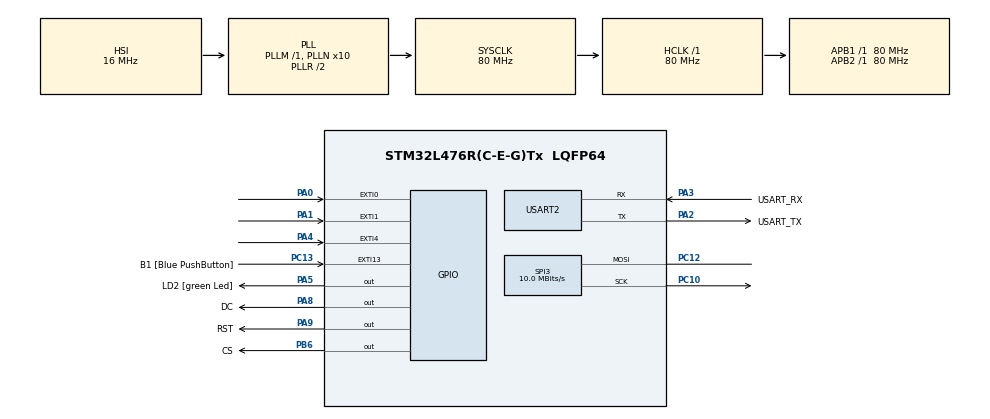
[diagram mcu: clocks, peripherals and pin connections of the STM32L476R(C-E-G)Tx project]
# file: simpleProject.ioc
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Dma.Request0=SPI3_TX
Dma.SPI3_TX.0.Direction=DMA_MEMORY_TO_PERIPH
Dma.SPI3_TX.0.Instance=DMA2_Channel2
Dma.SPI3_TX.0.MemDataAlignment=DMA_MDATAALIGN_BYTE
Dma.SPI3_TX.0.MemInc=DMA_MINC_ENABLE
Dma.SPI3_TX.0.Mode=DMA_NORMAL
Dma.SPI3_TX.0.PeriphDataAlignment=DMA_PDATAALIGN_BYTE
Dma.SPI3_TX.0.PeriphInc=DMA_PINC_DISABLE
Dma.SPI3_TX.0.Priority=DMA_PRIORITY_LOW
FREERTOS.Tasks01=defaultTask,0,128,StartDefaultTask,Default,NULL,Dynamic,NULL,NULL
FREERTOS.configTOTAL_HEAP_SIZE=20000
Mcu.Family=STM32L4
Mcu.Name=STM32L476R(C-E-G)Tx
Mcu.Package=LQFP64
NVIC.DMA2_Channel2_IRQn=true\:5\:0\:false\:false\:true\:true\:false\:true
NVIC.EXTI0_IRQn=true\:5\:0\:false\:false\:true\:true\:true\:true
NVIC.EXTI15_10_IRQn=true\:5\:0\:false\:false\:true\:true\:true\:true
NVIC.EXTI1_IRQn=true\:5\:0\:false\:false\:true\:true\:true\:true
NVIC.EXTI4_IRQn=true\:5\:0\:false\:false\:true\:true\:true\:true
NVIC.PriorityGroup=NVIC_PRIORITYGROUP_4
NVIC.SPI3_IRQn=true\:5\:0\:false\:false\:true\:true\:true\:true
NVIC.USART2_IRQn=true\:5\:0\:false\:false\:true\:true\:true\:true
PA0.Signal=GPXTI0
PA1.Signal=GPXTI1
PA13\ (JTMS-SWDIO).GPIO_Label=TMS
PA13\ (JTMS-SWDIO).Signal=SYS_JTMS-SWDIO
PA14\ (JTCK-SWCLK).GPIO_Label=TCK
PA14\ (JTCK-SWCLK).Signal=SYS_JTCK-SWCLK
PA2.GPIO_Label=USART_TX
PA2.GPIO_Mode=GPIO_MODE_AF_PP
PA2.GPIO_PuPd=GPIO_NOPULL
PA2.GPIO_Speed=GPIO_SPEED_FREQ_VERY_HIGH
PA2.Mode=Asynchronous
PA2.Signal=USART2_TX
PA3.GPIO_Label=USART_RX
PA3.GPIO_Mode=GPIO_MODE_AF_PP
PA3.GPIO_PuPd=GPIO_NOPULL
PA3.GPIO_Speed=GPIO_SPEED_FREQ_VERY_HIGH
PA3.Mode=Asynchronous
PA3.Signal=USART2_RX
PA4.Signal=GPXTI4
PA5.GPIO_Label=LD2 [green Led]
PA5.GPIO_ModeDefaultOutputPP=GPIO_MODE_OUTPUT_PP
PA5.GPIO_PuPd=GPIO_NOPULL
PA5.GPIO_Speed=GPIO_SPEED_FREQ_LOW
PA5.Signal=GPIO_Output
PA8.GPIO_Label=DC
PA8.Signal=GPIO_Output
PA9.GPIO_Label=RST
PA9.Signal=GPIO_Output
PB3\ (JTDO-TRACESWO).GPIO_Label=SWO
PB3\ (JTDO-TRACESWO).Signal=SYS_JTDO-SWO
PB6.GPIO_Label=CS
PB6.Signal=GPIO_Output
PC10.Mode=Simplex_Bidirectional_Master
PC10.Signal=SPI3_SCK
PC12.Mode=Simplex_Bidirectional_Master
PC12.Signal=SPI3_MOSI
PC13.GPIO_Label=B1 [Blue PushButton]
PC13.GPIO_ModeDefaultEXTI=GPIO_MODE_IT_FALLING
PC13.GPIO_PuPd=GPIO_NOPULL
PC13.Signal=GPXTI13
PC14-OSC32_IN\ (PC14).Signal=RCC_OSC32_IN
PC15-OSC32_OUT\ (PC15).Signal=RCC_OSC32_OUT
PH0-OSC_IN\ (PH0).Signal=RCC_OSC_IN
PH1-OSC_OUT\ (PH1).Signal=RCC_OSC_OUT
ProjectManager.HeapSize=0x200
ProjectManager.StackSize=0x400
ProjectManager.TargetToolchain=STM32CubeIDE
RCC.ADCFreq_Value=64000000
RCC.AHBFreq_Value=80000000
RCC.APB1Freq_Value=80000000
RCC.APB1TimFreq_Value=80000000
RCC.APB2Freq_Value=80000000
RCC.APB2TimFreq_Value=80000000
RCC.CortexFreq_Value=80000000
RCC.HCLKFreq_Value=80000000
RCC.HSE_VALUE=8000000
RCC.HSI_VALUE=16000000
RCC.LSE_VALUE=32768
RCC.MSI_VALUE=4000000
RCC.PLLN=10
RCC.PLLSourceVirtual=RCC_PLLSOURCE_HSI
RCC.PREFETCH_ENABLE=1
RCC.SYSCLKFreq_VALUE=80000000
RCC.SYSCLKSource=RCC_SYSCLKSOURCE_PLLCLK
RCC.USBFreq_Value=64000000
RCC.VCOOutputFreq_Value=160000000
SPI3.BaudRatePrescaler=SPI_BAUDRATEPRESCALER_8
SPI3.CalculateBaudRate=10.0 MBits/s
SPI3.DataSize=SPI_DATASIZE_8BIT
SPI3.Direction=SPI_DIRECTION_1LINE
SPI3.Mode=SPI_MODE_MASTER
SPI3.NSSPMode=SPI_NSS_PULSE_ENABLE
SPI3.VirtualType=VM_MASTER
TIM3.Channel-PWM\ Generation2\ No\ Output=TIM_CHANNEL_2
TIM3.Period=1000-1
TIM3.Prescaler=300-1
USART2.VirtualMode-Asynchronous=VM_ASYNC
VP_FREERTOS_VS_CMSIS_V1.Mode=CMSIS_V1
VP_RTC_VS_RTC_Activate.Mode=RTC_Enabled
VP_TIM3_VS_ClockSourceINT.Mode=Internal
VP_TIM3_VS_no_output2.Mode=PWM Generation2 No Output
board=NUCLEO-L476RG

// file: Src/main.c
/* USER CODE BEGIN Header */
/**
  ******************************************************************************
  * @file           : main.c
  * @brief          : Main program body
  ******************************************************************************
  * @attention
  *
  * <h2><center>&copy; Copyright (c) 2020 STMicroelectronics.
  * All rights reserved.</center></h2>
  *
  * This software component is licensed by ST under BSD 3-Clause license,
  * the "License"; You may not use this file except in compliance with the
  * License. You may obtain a copy of the License at:
  *                        opensource.org/licenses/BSD-3-Clause
  *
  ******************************************************************************
  */
/* USER CODE END Header */

#include "main.h"
#include "cmsis_os.h"
#include "dma.h"
#include "rtc.h"
#include "spi.h"
#include "tim.h"
#include "usart.h"
#include "gpio.h"

/* USER CODE BEGIN Includes */
#include "GUI_Paint.h"
#include "fonts.h"
#include "image.h"
#include "LCD_Test.h"
#include "IHMMGR.h"
/* USER CODE END Includes */

void SystemClock_Config(void);
void MX_FREERTOS_Init(void);

int main(void)
{

  /* MCU Configuration--------------------------------------------------------*/

  /* Reset of all peripherals, Initializes the Flash interface and the Systick. */
  HAL_Init();

  /* Configure the system clock */
  SystemClock_Config();

  /* Initialize all configured peripherals */
  MX_GPIO_Init();
  MX_DMA_Init();
  MX_SPI3_Init();
  MX_USART2_UART_Init();

  MX_TIM3_Init();
  MX_RTC_Init();
  /* USER CODE BEGIN 2 */

  HAL_UART_Receive_IT(&huart2,(uint8_t *) &RxChar, 1);
  //LCD_0in96_test();

  //LCD_1in14_test();

	LCD_1in28_test();

  //LCD_1in3_test();

	//LCD_1in47_test();

  //LCD_1in54_test();

  //LCD_1in8_test();

  //LCD_2in_test();

  //LCD_2in4_test();

  /* USER CODE END 2 */

  /* Call init function for freertos objects (in freertos.c) */
  MX_FREERTOS_Init();

  /* Start scheduler */
  osKernelStart();

  /* We should never get here as control is now taken by the scheduler */

  /* Infinite loop */
  while (1)
  {

  }
}

void SystemClock_Config(void)
{
  RCC_OscInitTypeDef RCC_OscInitStruct = {0};
  RCC_ClkInitTypeDef RCC_ClkInitStruct = {0};
  RCC_PeriphCLKInitTypeDef PeriphClkInit = {0};

  /** Initializes the CPU, AHB and APB busses clocks
  */
  RCC_OscInitStruct.OscillatorType = RCC_OSCILLATORTYPE_HSI|RCC_OSCILLATORTYPE_LSI;
  RCC_OscInitStruct.HSIState = RCC_HSI_ON;
  RCC_OscInitStruct.HSICalibrationValue = RCC_HSICALIBRATION_DEFAULT;
  RCC_OscInitStruct.LSIState = RCC_LSI_ON;
  RCC_OscInitStruct.PLL.PLLState = RCC_PLL_ON;
  RCC_OscInitStruct.PLL.PLLSource = RCC_PLLSOURCE_HSI;
  RCC_OscInitStruct.PLL.PLLM = 1;
  RCC_OscInitStruct.PLL.PLLN = 10;
  RCC_OscInitStruct.PLL.PLLP = RCC_PLLP_DIV7;
  RCC_OscInitStruct.PLL.PLLQ = RCC_PLLQ_DIV2;
  RCC_OscInitStruct.PLL.PLLR = RCC_PLLR_DIV2;
  if (HAL_RCC_OscConfig(&RCC_OscInitStruct) != HAL_OK)
  {
    Error_Handler();
  }
  /** Initializes the CPU, AHB and APB busses clocks
  */
  RCC_ClkInitStruct.ClockType = RCC_CLOCKTYPE_HCLK|RCC_CLOCKTYPE_SYSCLK
                              |RCC_CLOCKTYPE_PCLK1|RCC_CLOCKTYPE_PCLK2;
  RCC_ClkInitStruct.SYSCLKSource = RCC_SYSCLKSOURCE_PLLCLK;
  RCC_ClkInitStruct.AHBCLKDivider = RCC_SYSCLK_DIV1;
  RCC_ClkInitStruct.APB1CLKDivider = RCC_HCLK_DIV1;
  RCC_ClkInitStruct.APB2CLKDivider = RCC_HCLK_DIV1;

  if (HAL_RCC_ClockConfig(&RCC_ClkInitStruct, FLASH_LATENCY_4) != HAL_OK)
  {
    Error_Handler();
  }
  PeriphClkInit.PeriphClockSelection = RCC_PERIPHCLK_RTC|RCC_PERIPHCLK_USART2;
  PeriphClkInit.Usart2ClockSelection = RCC_USART2CLKSOURCE_PCLK1;
  PeriphClkInit.RTCClockSelection = RCC_RTCCLKSOURCE_LSI;
  if (HAL_RCCEx_PeriphCLKConfig(&PeriphClkInit) != HAL_OK)
  {
    Error_Handler();
  }
  /** Configure the main internal regulator output voltage
  */
  if (HAL_PWREx_ControlVoltageScaling(PWR_REGULATOR_VOLTAGE_SCALE1) != HAL_OK)
  {
    Error_Handler();
  }
}

void Error_Handler(void)
{
}

/************************ (C) COPYRIGHT STMicroelectronics *****END OF FILE****/

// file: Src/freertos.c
/* USER CODE BEGIN Header */
/**
  ******************************************************************************
  * File Name          : freertos.c
  * Description        : Code for freertos applications
  ******************************************************************************
  * @attention
  *
  * <h2><center>&copy; Copyright (c) 2023 STMicroelectronics.
  * All rights reserved.</center></h2>
  *
  * This software component is licensed by ST under Ultimate Liberty license
  * SLA0044, the "License"; You may not use this file except in compliance with
  * the License. You may obtain a copy of the License at:
  *                             www.st.com/SLA0044
  *
  ******************************************************************************
  */
/* USER CODE END Header */

#include "FreeRTOS.h"
#include "task.h"
#include "main.h"
#include "cmsis_os.h"

/* USER CODE BEGIN Includes */
#include "IHMMGR.h"
#include "predictsat.h"
#include "gps.h"
#include "fonts.h"
#include "predictsat.h"
#include "LCD_1in28.h"
/* USER CODE END Includes */

/* USER CODE BEGIN PTD */
osThreadId defaultTaskHandle;
osThreadId IHMHandle;
osThreadId PREDICTHandle;
osThreadId TRANSMITHandle;
osThreadId ACQHandle;
osThreadId AFFICHAGEHandle;
osSemaphoreId SemSDHandle;
osStaticSemaphoreDef_t SemSDControlBlock;
/* USER CODE END PTD */

/* USER CODE BEGIN PD */
void IHM_task(void const * pvParameters);
void AFF_task(void const * argument) ;
/* USER CODE END PD */

osThreadId defaultTaskHandle;
osThreadId AFFICHAGEHandle;

void StartDefaultTask(void const * argument);

void MX_FREERTOS_Init(void); /* (MISRA C 2004 rule 8.1) */

/* GetIdleTaskMemory prototype (linked to static allocation support) */
void vApplicationGetIdleTaskMemory( StaticTask_t **ppxIdleTaskTCBBuffer, StackType_t **ppxIdleTaskStackBuffer, uint32_t *pulIdleTaskStackSize );

/* USER CODE BEGIN GET_IDLE_TASK_MEMORY */
static StaticTask_t xIdleTaskTCBBuffer;
static StackType_t xIdleStack[configMINIMAL_STACK_SIZE];

void vApplicationGetIdleTaskMemory( StaticTask_t **ppxIdleTaskTCBBuffer, StackType_t **ppxIdleTaskStackBuffer, uint32_t *pulIdleTaskStackSize )
{
  *ppxIdleTaskTCBBuffer = &xIdleTaskTCBBuffer;
  *ppxIdleTaskStackBuffer = &xIdleStack[0];
  *pulIdleTaskStackSize = configMINIMAL_STACK_SIZE;
  /* place for user code */
}
/* USER CODE END GET_IDLE_TASK_MEMORY */

void MX_FREERTOS_Init(void) {

  /* Create the thread(s) */
  /* definition and creation of defaultTask */
  osThreadDef(defaultTask, StartDefaultTask, osPriorityNormal, 0, 128);
  defaultTaskHandle = osThreadCreate(osThread(defaultTask), NULL);

  /* USER CODE BEGIN RTOS_THREADS */
  osThreadDef(IHM, IHM_task, osPriorityIdle, 0, 512);
    IHMHandle = osThreadCreate(osThread(IHM), NULL);

    osThreadDef(AFFICHAGE, AFF_task, osPriorityIdle, 0, 1024);
    AFFICHAGEHandle = osThreadCreate(osThread(AFFICHAGE), NULL);
  /* add threads, ... */
  /* USER CODE END RTOS_THREADS */

}

void StartDefaultTask(void const * argument)
{
  for(;;)
  {
    osDelay(1);
  }
}

/************************ (C) COPYRIGHT STMicroelectronics *****END OF FILE****/
